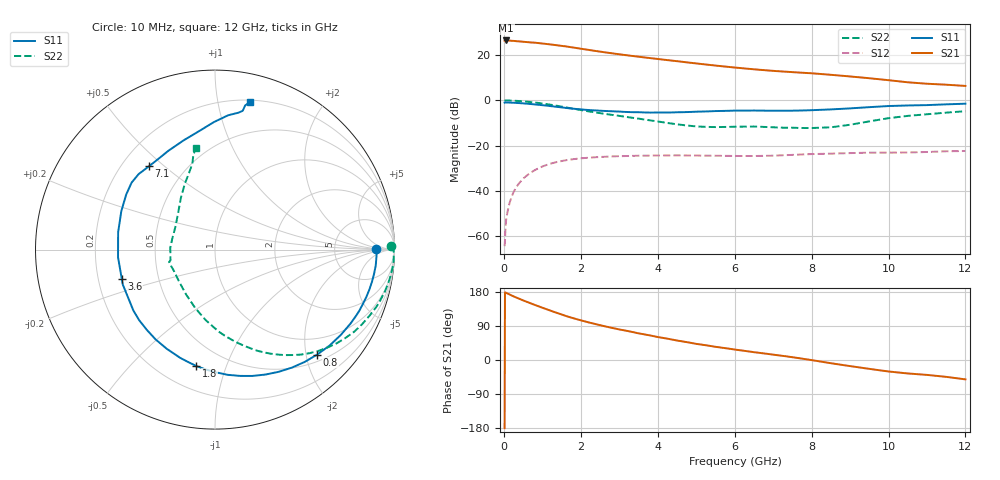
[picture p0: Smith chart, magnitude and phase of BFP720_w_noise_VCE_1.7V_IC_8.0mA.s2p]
! Infineon Technologies  Discrete & RF Semiconductors
! BFP720
! VCE =  1.7 V,  IC =  8.0 mA
! Common Emitter S-Parameters:  Aug 2012
# GHz  S  MA  R  50
!  f  S11  S21  S12  S22
! GHz  MAG  ANG  MAG  ANG  MAG  ANG  MAG  ANG
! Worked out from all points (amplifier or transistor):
!   105 points, 10 MHz to 12 GHz, reference 50 ohm
!   highest |S21| = 26.5 dB at 50 MHz (marker M1)
!   |S21| within 3 dB of that: start of sweep to 1.748 GHz
!   unconditionally stable (mu >= 1): 5.999 GHz to 11.46 GHz
!   at 300 MHz: K = 0.07, MSG = 32.5 dB, |S12| = -38.8 dB
!   at 3.6 GHz: K = 0.62, MSG = 21.8 dB, |S12| = -24.4 dB
!   at 12 GHz: K = 0.85, MSG = 14.4 dB, |S12| = -22.4 dB
!   lowest NFmin = 0.48 dB at 450 MHz
!   S11 on the Smith chart (normalised r, x): 10 MHz: 18, +0; 800 MHz: 0.63, -2.22; 1.8 GHz: 0.35, -0.79; 3.6 GHz: 0.30, -0.14; 7.1 GHz: 0.31, +0.44; 12 GHz: 0.21, +1.24
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0.01  0.8953 0.1  20.94 -179.8  0.0006 -77.8  0.9794 1.1
0.02  0.9009 -1.1  20.94 178.5  0.0008 87.9  0.9961 -0.6
0.05  0.9004 -2.8  21.2 177.1  0.0023 85.1  0.9969 -1.9
0.25  0.8886 -14.4  20.7 167.6  0.0097 81.7  0.9862 -9.8
0.4  0.8733 -23.0  20.19 161.2  0.0152 76.7  0.9678 -15.7
0.8  0.816 -45.8  18.91 145.2  0.0289 64.0  0.9001 -30.6
1.1  0.7677 -62.5  17.71 134.0  0.0374 55.0  0.8305 -41.1
1.3  0.7338 -73.6  16.9 126.8  0.0421 49.5  0.7805 -47.7
1.6  0.6838 -89.6  15.69 116.4  0.0475 42.1  0.7042 -56.6
1.8  0.6566 -99.2  14.78 110.2  0.0503 37.7  0.6557 -62.1
2.1  0.6223 -111.9  13.48 101.9  0.0534 32.0  0.5922 -69.3
2.4  0.6002 -123.4  12.33 94.1  0.0557 27.3  0.5385 -75.9
2.8  0.5774 -137.0  11.04 84.8  0.0578 21.9  0.4802 -83.9
3.6  0.5445 -162.5  9.042 68.5  0.0601 13.8  0.3841 -99.6
4.1  0.5403 -178.4  8.062 58.8  0.0608 9.7  0.3322 -111.4
5  0.5644 157.6  6.582 42.5  0.0606 3.7  0.2672 -138.9
6.1  0.596 140.0  5.245 26.2  0.0592 0.1  0.2629 -161.9
7.1  0.5925 128.5  4.448 12.8  0.0606 -0.0  0.2525 -169.5
8.5  0.6337 105.9  3.691 -8.5  0.0667 -4.6  0.2547 149.9
9.5  0.7105 90.5  3.098 -23.4  0.0701 -9.1  0.3447 123.5
10.5  0.7745 80.2  2.52 -35.5  0.0706 -12.9  0.456 108.2
12  0.8475 76.6  2.093 -51.1  0.0762 -19.3  0.5785 100.7
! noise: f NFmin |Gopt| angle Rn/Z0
0.45  0.48  0.35  2  0.16
1.8  0.54  0.32  22  0.14
2.4  0.59  0.26  45  0.25
5.5  0.73  0.14  40  0.14
10  0.95  0.39  -84  0.22
